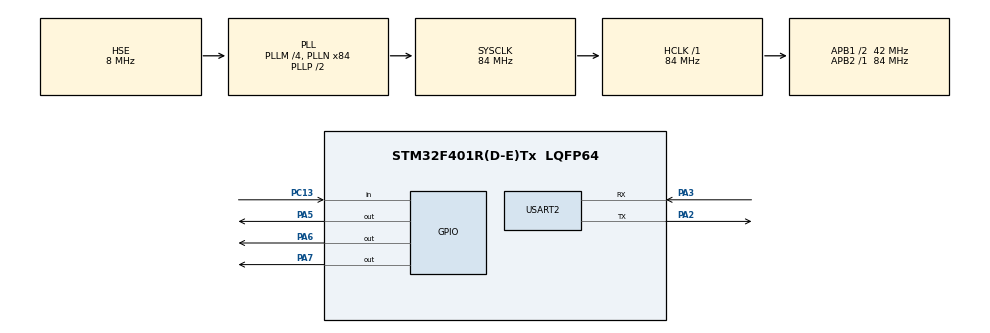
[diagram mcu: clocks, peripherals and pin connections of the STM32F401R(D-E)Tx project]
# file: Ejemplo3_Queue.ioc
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Mcu.Family=STM32F4
Mcu.Name=STM32F401R(D-E)Tx
Mcu.Package=LQFP64
NVIC.PriorityGroup=NVIC_PRIORITYGROUP_4
NVIC.TIM1_TRG_COM_TIM11_IRQn=true\:15\:0\:false\:false\:true\:false\:true\:true
NVIC.TimeBase=TIM1_TRG_COM_TIM11_IRQn
NVIC.TimeBaseIP=TIM11
PA2.Mode=Asynchronous
PA2.Signal=USART2_TX
PA3.Mode=Asynchronous
PA3.Signal=USART2_RX
PA5.Signal=GPIO_Output
PA6.Signal=GPIO_Output
PA7.Signal=GPIO_Output
PC13-ANTI_TAMP.GPIO_PuPd=GPIO_PULLUP
PC13-ANTI_TAMP.Signal=GPIO_Input
PH0\ -\ OSC_IN.Mode=HSE-External-Clock-Source
PH0\ -\ OSC_IN.Signal=RCC_OSC_IN
PH1\ -\ OSC_OUT.Mode=HSE-External-Clock-Source
PH1\ -\ OSC_OUT.Signal=RCC_OSC_OUT
ProjectManager.HeapSize=0x200
ProjectManager.StackSize=0x400
ProjectManager.TargetToolchain=STM32CubeIDE
RCC.48MHZClocksFreq_Value=42000000
RCC.AHBFreq_Value=84000000
RCC.APB1CLKDivider=RCC_HCLK_DIV2
RCC.APB1Freq_Value=42000000
RCC.APB1TimFreq_Value=84000000
RCC.APB2Freq_Value=84000000
RCC.APB2TimFreq_Value=84000000
RCC.CortexFreq_Value=84000000
RCC.HCLKFreq_Value=84000000
RCC.HSE_VALUE=8000000
RCC.HSI_VALUE=16000000
RCC.LSE_VALUE=32768
RCC.PLLM=4
RCC.PLLN=84
RCC.PLLSourceVirtual=RCC_PLLSOURCE_HSE
RCC.SYSCLKFreq_VALUE=84000000
RCC.SYSCLKSource=RCC_SYSCLKSOURCE_PLLCLK
RCC.VCOOutputFreq_Value=168000000
USART2.VirtualMode=VM_ASYNC
VP_SYS_VS_tim11.Mode=TIM11
board=custom

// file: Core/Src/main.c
/* USER CODE BEGIN Header */
/* USER CODE END Header */
#include "main.h"
#include "usart.h"
#include "gpio.h"

/* USER CODE BEGIN Includes */
#include "stdio.h"
#include "string.h"
#include "stdlib.h"
#include "stdarg.h"

#include "FreeRTOS.h"
#include "task.h"
#include "queue.h"
/* USER CODE END Includes */

void SystemClock_Config(void);

/* USER CODE BEGIN 0 */
#define SYSTEM_VIEW				1

void SendUart(char *format,...);

TaskHandle_t TaskHandle1,TaskHandle2;
QueueHandle_t xQueue;

void vTarea1(void *params);
void vTarea2(void *params);

/* USER CODE END 0 */

int main(void)
{
  /* USER CODE BEGIN 1 */
	BaseType_t status;
  /* USER CODE END 1 */

  /* MCU Configuration--------------------------------------------------------*/

  /* Reset of all peripherals, Initializes the Flash interface and the Systick. */
  HAL_Init();

  /* Configure the system clock */
  SystemClock_Config();

  /* Initialize all configured peripherals */
  MX_GPIO_Init();
  MX_USART2_UART_Init();
  /* USER CODE BEGIN 2 */
#if SYSTEM_VIEW
//  NVIC_SetPriorityGrouping(0);
  DWT->CTRL |= 1;
  SEGGER_SYSVIEW_Conf();
  /*solo se va usar cuando se trabaje en modo one shot*/
  SEGGER_SYSVIEW_Start();

#endif

  status = xTaskCreate(vTarea1,
		  	  	  	  	  	  "Tarea 1",
							  128,
							  NULL,
							  1,
							  &TaskHandle1);
  configASSERT(status == pdPASS);

  status = xTaskCreate(vTarea2,
		  	  	  	  	  	  "Tarea 2",
							  128,
							  NULL,
							  1,
							  &TaskHandle2);
  configASSERT(status == pdPASS);

  /*creacion de la queue*/

  xQueue = xQueueCreate(/*#numero de elemetos*/5,/*numero de bytes por item*/sizeof(uint8_t));

  configASSERT(xQueue != NULL);

  vTaskStartScheduler();//Arrancamos el kernel

  /* USER CODE END 2 */

  /* Infinite loop */

}

void SystemClock_Config(void)
{
  RCC_OscInitTypeDef RCC_OscInitStruct = {0};
  RCC_ClkInitTypeDef RCC_ClkInitStruct = {0};

  /** Configure the main internal regulator output voltage
  */
  __HAL_RCC_PWR_CLK_ENABLE();
  __HAL_PWR_VOLTAGESCALING_CONFIG(PWR_REGULATOR_VOLTAGE_SCALE2);

  /** Initializes the RCC Oscillators according to the specified parameters
  * in the RCC_OscInitTypeDef structure.
  */
  RCC_OscInitStruct.OscillatorType = RCC_OSCILLATORTYPE_HSE;
  RCC_OscInitStruct.HSEState = RCC_HSE_BYPASS;
  RCC_OscInitStruct.PLL.PLLState = RCC_PLL_ON;
  RCC_OscInitStruct.PLL.PLLSource = RCC_PLLSOURCE_HSE;
  RCC_OscInitStruct.PLL.PLLM = 4;
  RCC_OscInitStruct.PLL.PLLN = 84;
  RCC_OscInitStruct.PLL.PLLP = RCC_PLLP_DIV2;
  RCC_OscInitStruct.PLL.PLLQ = 4;
  if (HAL_RCC_OscConfig(&RCC_OscInitStruct) != HAL_OK)
  {
    Error_Handler();
  }

  /** Initializes the CPU, AHB and APB buses clocks
  */
  RCC_ClkInitStruct.ClockType = RCC_CLOCKTYPE_HCLK|RCC_CLOCKTYPE_SYSCLK
                              |RCC_CLOCKTYPE_PCLK1|RCC_CLOCKTYPE_PCLK2;
  RCC_ClkInitStruct.SYSCLKSource = RCC_SYSCLKSOURCE_PLLCLK;
  RCC_ClkInitStruct.AHBCLKDivider = RCC_SYSCLK_DIV1;
  RCC_ClkInitStruct.APB1CLKDivider = RCC_HCLK_DIV2;
  RCC_ClkInitStruct.APB2CLKDivider = RCC_HCLK_DIV1;

  if (HAL_RCC_ClockConfig(&RCC_ClkInitStruct, FLASH_LATENCY_2) != HAL_OK)
  {
    Error_Handler();
  }
}

/* USER CODE BEGIN 4 */

void SendUart(char *format,...){
char str[100];
va_list args;
va_start(args,format);
vsprintf(str,format,args);
HAL_UART_Transmit(&huart2, (uint8_t*)str, strlen(str), 10);
va_end(args);

}

void vTarea1(void *params){
	//**/
	uint8_t data=0;
	BaseType_t status;

	for(;;){
		data++;
		status = xQueueSend(xQueue,(void*)&data,HAL_MAX_DELAY);
		if (status == pdTRUE) {
			SEGGER_SYSVIEW_PrintfHost("dato envidado\r\r");
			SendUart("dato envidado\r\n");
		}
		else {
			SEGGER_SYSVIEW_PrintfHost("Esta lleno :c\r\r");
			SendUart("Esta lleno :c\r\n");
		}
		HAL_GPIO_TogglePin(GPIOA, GPIO_PIN_5);

		vTaskDelay(pdMS_TO_TICKS(50));
	}
	vTaskDelete(NULL);
}

void vTarea2(void *params){
	//**/
	uint8_t data;
	BaseType_t status;

	for(;;){
		status = xQueueReceive(xQueue, (void*)&data, 400);
		if (status == pdTRUE) {
			SEGGER_SYSVIEW_PrintfHost("el dato es ->%u\r\r",data);
			SendUart("el dato es ->%u\r\n",data);
		}
		else {
			SEGGER_SYSVIEW_PrintfHost("nigun dato disponible :c\r\r");
			SendUart("nigun dato disponible :c\r\n");
		}
		        HAL_GPIO_TogglePin(GPIOA, GPIO_PIN_6);

				vTaskDelay(pdMS_TO_TICKS(500));
	}
	vTaskDelete(NULL);
}
/* USER CODE END 4 */

void HAL_TIM_PeriodElapsedCallback(TIM_HandleTypeDef *htim)
{
  if (htim->Instance == TIM11) {
    HAL_IncTick();
  }
}

void Error_Handler(void)
{
}
